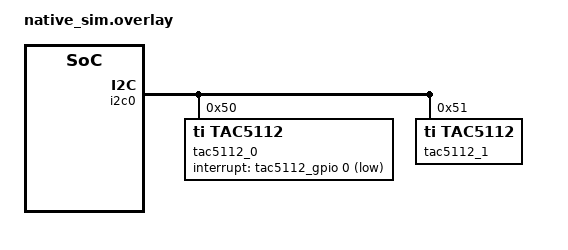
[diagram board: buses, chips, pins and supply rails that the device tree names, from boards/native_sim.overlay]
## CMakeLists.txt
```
#
# Copyright (c) 2026 Nordic Semiconductor ASA
#
# SPDX-License-Identifier: LicenseRef-Nordic-5-Clause
#

cmake_minimum_required(VERSION 3.20.0)

find_package(Zephyr REQUIRED HINTS $ENV{ZEPHYR_BASE})
project(tac5112_api)

# tac5112_private.h is a private driver header (not installed on the public
# include path); this whitebox test suite includes it directly to reach
# tac5112_reg_write()/tac5112_reg_read()/tac5112_reg_update(), so add
# drivers/audio/ to the include path.
zephyr_include_directories(${ZEPHYR_NRF_MODULE_DIR}/drivers/audio)

target_sources(app PRIVATE src/main.c)
```

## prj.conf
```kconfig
#
# Copyright (c) 2026 Nordic Semiconductor ASA
#
# SPDX-License-Identifier: LicenseRef-Nordic-5-Clause
#

CONFIG_ZTEST=y

CONFIG_AUDIO=y
CONFIG_AUDIO_CODEC=y
CONFIG_AUDIO_CODEC_TAC5112=y
CONFIG_AUDIO_CODEC_TAC5112_EMUL=y

CONFIG_I2C=y
CONFIG_GPIO=y
CONFIG_GPIO_EMUL=y
CONFIG_EMUL=y
```

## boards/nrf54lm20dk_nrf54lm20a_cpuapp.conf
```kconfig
#
# Copyright (c) 2026 Nordic Semiconductor ASA
#
# SPDX-License-Identifier: LicenseRef-Nordic-5-Clause
#

# This suite is a whitebox unit test for the TAC5112 codec driver and uses
# neither entropy nor cryptography. On nRF54L the PSA crypto provider defaults
# on (from the zephyr,psa-crypto-rng devicetree node) and pulls in the whole
# nrf_security/CRACEN stack. Building it for this build-only compile check is
# pure overhead and, because its object paths are very deeply nested, also
# overflows CMAKE_OBJECT_PATH_MAX on Windows hosts. Disabling PSA crypto (the
# master switch for nrf_security) plus Mbed TLS and the entropy generator keeps
# the image lean and lets the compile check build everywhere.
CONFIG_PSA_CRYPTO=n
CONFIG_MBEDTLS=n
CONFIG_ENTROPY_GENERATOR=n
```

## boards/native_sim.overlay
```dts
/*
 * Copyright (c) 2026 Nordic Semiconductor ASA
 *
 * SPDX-License-Identifier: LicenseRef-Nordic-5-Clause
 */

#include <zephyr/dt-bindings/gpio/gpio.h>

/ {
	aliases {
		tac5112-0 = &tac5112_0;
		tac5112-1 = &tac5112_1;
	};

	/* Emulated GPIO controller carrying the codec's active-low IRQ output;
	 * driven by the I2C emulator (drivers/audio/tac5112_emul.c).
	 */
	tac5112_gpio: gpio@200 {
		compatible = "zephyr,gpio-emul";
		reg = <0x200 0x4>;
		gpio-controller;
		#gpio-cells = <2>;
		ngpios = <1>;
		rising-edge;
		falling-edge;
		high-level;
		low-level;
	};
};

&i2c0 {
	tac5112_0: audio-codec@50 {
		compatible = "ti,tac5112";
		reg = <0x50>;
		interrupt-gpios = <&tac5112_gpio 0 GPIO_ACTIVE_LOW>;
	};

	/* Second codec: microphone bias enabled and no interrupt line. */
	tac5112_1: audio-codec@51 {
		compatible = "ti,tac5112";
		reg = <0x51>;
		micbias-enable;
	};
};
```

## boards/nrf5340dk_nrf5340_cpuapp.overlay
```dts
/*
 * Copyright (c) 2026 Nordic Semiconductor ASA
 *
 * SPDX-License-Identifier: LicenseRef-Nordic-5-Clause
 */

 /*
 * Runs the TAC5112 driver + I2C-mock ztest suite on the nRF5340 DK
 * application core (Cortex-M33). Like the qemu_cortex_m3 overlay, it
 * supplies a software "zephyr,i2c-emul-controller" so the whole stack --
 * driver, Zephyr I2C API, and the mock -- runs with no physical codec.
 */

#include <zephyr/dt-bindings/i2c/i2c.h>

/ {
	aliases {
		tac5112-0 = &tac5112_0;
	};

	tac5112_i2c: i2c@100 {
		status = "okay";
		compatible = "zephyr,i2c-emul-controller";
		reg = <0x100 4>;
		clock-frequency = <I2C_BITRATE_STANDARD>;
		#address-cells = <1>;
		#size-cells = <0>;

		tac5112_0: audio-codec@50 {
			compatible = "ti,tac5112";
			reg = <0x50>;
		};
	};
};
```

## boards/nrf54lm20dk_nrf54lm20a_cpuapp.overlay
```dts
/*
 * Copyright (c) 2026 Nordic Semiconductor ASA
 *
 * SPDX-License-Identifier: LicenseRef-Nordic-5-Clause
 */

/*
 * Devicetree overlay for running the TAC5112 driver + I2C-mock ztest suite
 * on a Nordic nRF54LM20 DK (board target nrf54lm20dk/nrf54lm20a/cpuapp).
 *
 * This runs the *unit tests* on the real Cortex-M33 application core -- the
 * production driver code, the real Zephyr I2C API, kernel mutex and system
 * workqueue -- without needing a physical TAC5112 wired up. As on QEMU, the
 * codec is provided by the software mock (drivers/audio/tac5112_emul.c)
 * bound to a "zephyr,i2c-emul-controller" bus, so no real TWIM pins are
 * touched. For driving a *physical* codec over a real TWIM instance, see
 * the production overlay snippet in README.md instead.
 */

#include <zephyr/dt-bindings/i2c/i2c.h>

#include <zephyr/dt-bindings/gpio/gpio.h>

/ {
	aliases {
		tac5112-0 = &tac5112_0;
		tac5112-1 = &tac5112_1;
	};

	/* Emulated GPIO controller carrying the codec's active-low IRQ output;
	 * driven by the I2C emulator (drivers/audio/tac5112_emul.c).
	 */
	tac5112_gpio: gpio@200 {
		compatible = "zephyr,gpio-emul";
		reg = <0x200 0x4>;
		gpio-controller;
		#gpio-cells = <2>;
		ngpios = <1>;
		rising-edge;
		falling-edge;
		high-level;
		low-level;
	};

	tac5112_i2c: i2c@100 {
		status = "okay";
		compatible = "zephyr,i2c-emul-controller";
		/* This binding marks reg as required. The node is not real
		 * MMIO -- reg is only an identifier for an emulated bus -- but
		 * it must be present and match the @unit-address above.
		 */
		reg = <0x100 4>;
		clock-frequency = <I2C_BITRATE_STANDARD>;
		#address-cells = <1>;
		#size-cells = <0>;

		tac5112_0: audio-codec@50 {
			compatible = "ti,tac5112";
			reg = <0x50>;
			interrupt-gpios = <&tac5112_gpio 0 GPIO_ACTIVE_LOW>;
		};

		/* Second codec: microphone bias enabled and no interrupt line. */
		tac5112_1: audio-codec@51 {
			compatible = "ti,tac5112";
			reg = <0x51>;
			micbias-enable;
		};
	};
};
```

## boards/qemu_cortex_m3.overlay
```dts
/*
 * Copyright (c) 2026 Nordic Semiconductor ASA
 *
 * SPDX-License-Identifier: LicenseRef-Nordic-5-Clause
 */

/*
 * Devicetree overlay for running the TAC5112 driver + I2C-mock ztest suite
 * on the qemu_cortex_m3 platform.
 *
 * Unlike native_sim (whose board devicetree already ships an emulated I2C
 * bus at &i2c0), qemu_cortex_m3 models the TI LM3S6965 SoC and provides no
 * usable I2C controller under QEMU. This overlay therefore instantiates a
 * software "zephyr,i2c-emul-controller" bus at the root of the tree and
 * hangs the TAC5112 node off it. Both the real driver device and the I2C
 * emulator (drivers/audio/tac5112_emul.c) bind to that same node, so the
 * whole stack -- codec driver, Zephyr I2C API, and the mock -- is exercised
 * exactly as it is on native_sim, just running on an emulated Cortex-M3.
 *
 * CONFIG_I2C_EMUL is selected automatically once this compatible is present
 * (its Kconfig defaults y on DT_HAS_ZEPHYR_I2C_EMUL_CONTROLLER_ENABLED).
 */

#include <zephyr/dt-bindings/i2c/i2c.h>

#include <zephyr/dt-bindings/gpio/gpio.h>

/ {
	aliases {
		tac5112-0 = &tac5112_0;
		tac5112-1 = &tac5112_1;
	};

	/* Emulated GPIO controller carrying the codec's active-low IRQ output;
	 * driven by the I2C emulator (drivers/audio/tac5112_emul.c).
	 */
	tac5112_gpio: gpio@200 {
		compatible = "zephyr,gpio-emul";
		reg = <0x200 0x4>;
		gpio-controller;
		#gpio-cells = <2>;
		ngpios = <1>;
		rising-edge;
		falling-edge;
		high-level;
		low-level;
	};

	tac5112_i2c: i2c@100 {
		status = "okay";
		compatible = "zephyr,i2c-emul-controller";
		/* This binding marks reg as required. The node is not real
		 * MMIO -- reg is only an identifier for an emulated bus -- but
		 * it must be present and match the @unit-address above.
		 */
		reg = <0x100 4>;
		clock-frequency = <I2C_BITRATE_STANDARD>;
		#address-cells = <1>;
		#size-cells = <0>;

		tac5112_0: audio-codec@50 {
			compatible = "ti,tac5112";
			reg = <0x50>;
			interrupt-gpios = <&tac5112_gpio 0 GPIO_ACTIVE_LOW>;
		};

		/* Second codec: microphone bias enabled and no interrupt line. */
		tac5112_1: audio-codec@51 {
			compatible = "ti,tac5112";
			reg = <0x51>;
			micbias-enable;
		};
	};
};
```

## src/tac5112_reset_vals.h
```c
/*
 * Copyright (c) 2026 Nordic Semiconductor ASA
 *
 * SPDX-License-Identifier: LicenseRef-Nordic-5-Clause
 */

#ifndef TAC5112_RESET_VALUES_H_
#define TAC5112_RESET_VALUES_H_

#ifdef __cplusplus
extern "C" {
#endif

#define	TEST_TAC5112_REG_PAGE_0_CFG_RESET_VAL			(0x00U)
#define	TEST_TAC5112_REG_SW_RESET_RESET_VAL				(0x00U)
#define	TEST_TAC5112_REG_DEV_MISC_CFG_RESET_VAL			(0x00U)
#define	TEST_TAC5112_REG_AVDD_IOVDD_STS_RESET_VAL		(0x00U)
#define	TEST_TAC5112_REG_MISC_CFG_RESET_VAL				(0x00U)
#define	TEST_TAC5112_REG_MISC_CFG1_RESET_VAL			(0x15U)
#define	TEST_TAC5112_REG_DAC_CFG_A0_RESET_VAL			(0x35U)
#define	TEST_TAC5112_REG_MISC_CFG0_RESET_VAL			(0x00U)
#define	TEST_TAC5112_REG_GPIO1_CFG0_RESET_VAL			(0x32U)
#define	TEST_TAC5112_REG_GPIO2_CFG0_RESET_VAL			(0x00U)
#define	TEST_TAC5112_REG_GPO1_CFG0_RESET_VAL			(0x00U)
#define	TEST_TAC5112_REG_GPI_CFG_RESET_VAL				(0x00U)
#define	TEST_TAC5112_REG_GPO_GPI_VAL_RESET_VAL			(0x00U)
#define	TEST_TAC5112_REG_INTF_CFG0_RESET_VAL			(0x00U)
#define	TEST_TAC5112_REG_INTF_CFG1_RESET_VAL			(0x52U)
#define	TEST_TAC5112_REG_INTF_CFG2_RESET_VAL			(0x80U)
#define	TEST_TAC5112_REG_INTF_CFG3_RESET_VAL			(0x00U)
#define	TEST_TAC5112_REG_INTF_CFG4_RESET_VAL			(0x00U)
#define	TEST_TAC5112_REG_INTF_CFG5_RESET_VAL			(0x00U)
#define	TEST_TAC5112_REG_INTF_CFG6_RESET_VAL			(0x00U)
#define	TEST_TAC5112_REG_ASI_CFG0_RESET_VAL				(0x40U)
#define	TEST_TAC5112_REG_ASI_CFG1_RESET_VAL				(0x00U)
#define	TEST_TAC5112_REG_PASI_CFG0_RESET_VAL			(0x30U)
#define	TEST_TAC5112_REG_PASI_TX_CFG0_RESET_VAL			(0x00U)
#define	TEST_TAC5112_REG_PASI_TX_CFG1_RESET_VAL			(0x00U)
#define	TEST_TAC5112_REG_PASI_TX_CFG2_RESET_VAL			(0x00U)
#define	TEST_TAC5112_REG_PASI_TX_CH1_CFG_RESET_VAL		(0x20U)
#define	TEST_TAC5112_REG_PASI_TX_CH2_CFG_RESET_VAL		(0x21U)
#define	TEST_TAC5112_REG_PASI_TX_CH3_CFG_RESET_VAL		(0x02U)
#define	TEST_TAC5112_REG_PASI_TX_CH4_CFG_RESET_VAL		(0x03U)
#define	TEST_TAC5112_REG_PASI_TX_CH5_CFG_RESET_VAL		(0x04U)
#define	TEST_TAC5112_REG_PASI_TX_CH6_CFG_RESET_VAL		(0x05U)
#define	TEST_TAC5112_REG_PASI_TX_CH7_CFG_RESET_VAL		(0x06U)
#define	TEST_TAC5112_REG_PASI_TX_CH8_CFG_RESET_VAL		(0x07U)
#define	TEST_TAC5112_REG_PASI_RX_CFG0_RESET_VAL			(0x00U)
#define	TEST_TAC5112_REG_PASI_RX_CFG1_RESET_VAL			(0x00U)
#define	TEST_TAC5112_REG_PASI_RX_CH1_CFG_RESET_VAL		(0x20U)
#define	TEST_TAC5112_REG_PASI_RX_CH2_CFG_RESET_VAL		(0x21U)
#define	TEST_TAC5112_REG_PASI_RX_CH3_CFG_RESET_VAL		(0x02U)
#define	TEST_TAC5112_REG_PASI_RX_CH4_CFG_RESET_VAL		(0x03U)
#define	TEST_TAC5112_REG_PASI_RX_CH5_CFG_RESET_VAL		(0x04U)
#define	TEST_TAC5112_REG_PASI_RX_CH6_CFG_RESET_VAL		(0x05U)
#define	TEST_TAC5112_REG_PASI_RX_CH7_CFG_RESET_VAL		(0x06U)
#define	TEST_TAC5112_REG_PASI_RX_CH8_CFG_RESET_VAL		(0x07U)
#define	TEST_TAC5112_REG_CLK_CFG0_RESET_VAL				(0x00U)
#define	TEST_TAC5112_REG_CLK_CFG1_RESET_VAL				(0x00U)
#define	TEST_TAC5112_REG_CLK_CFG2_RESET_VAL				(0x40U)
#define	TEST_TAC5112_REG_CNT_CLK_CFG0_RESET_VAL			(0x00U)
#define	TEST_TAC5112_REG_CNT_CLK_CFG1_RESET_VAL			(0x00U)
#define	TEST_TAC5112_REG_CNT_CLK_CFG2_RESET_VAL			(0x20U)
#define	TEST_TAC5112_REG_CNT_CLK_CFG3_RESET_VAL			(0x00U)
#define	TEST_TAC5112_REG_CNT_CLK_CFG4_RESET_VAL			(0x00U)
#define	TEST_TAC5112_REG_CNT_CLK_CFG5_RESET_VAL			(0x00U)
#define	TEST_TAC5112_REG_CNT_CLK_CFG6_RESET_VAL			(0x00U)
#define	TEST_TAC5112_REG_CLK_ERR_STS0_RESET_VAL			(0x00U)
#define	TEST_TAC5112_REG_CLK_ERR_STS1_RESET_VAL			(0x00U)
#define	TEST_TAC5112_REG_CLK_DET_STS0_RESET_VAL			(0x00U)
#define	TEST_TAC5112_REG_CLK_DET_STS1_RESET_VAL			(0x00U)
#define	TEST_TAC5112_REG_CLK_DET_STS2_RESET_VAL			(0x00U)
#define	TEST_TAC5112_REG_CLK_DET_STS3_RESET_VAL			(0x00U)
#define	TEST_TAC5112_REG_INT_CFG_RESET_VAL				(0x00U)
#define	TEST_TAC5112_REG_DAC_FLT_CFG_RESET_VAL			(0x54U)
#define	TEST_TAC5112_REG_ADC_DAC_MISC_CFG_RESET_VAL		(0x00U)
#define	TEST_TAC5112_REG_IADC_CFG_RESET_VAL				(0x5CU)
#define	TEST_TAC5112_REG_VREF_MICBIAS_CFG_RESET_VAL		(0x00U)
#define	TEST_TAC5112_REG_PWR_TUNE_CFG0_RESET_VAL		(0x00U)
#define	TEST_TAC5112_REG_PWR_TUNE_CFG1_RESET_VAL		(0x00U)
#define	TEST_TAC5112_REG_ADC_CH1_CFG0_RESET_VAL			(0x00U)
#define	TEST_TAC5112_REG_IADC_CH_CFG_RESET_VAL			(0x00U)
#define	TEST_TAC5112_REG_ADC_CH1_CFG2_RESET_VAL			(0xA1U)
#define	TEST_TAC5112_REG_ADC_CH1_CFG3_RESET_VAL			(0x80U)
#define	TEST_TAC5112_REG_ADC_CH1_CFG4_RESET_VAL			(0x00U)
#define	TEST_TAC5112_REG_ADC_CH2_CFG0_RESET_VAL			(0x00U)
#define	TEST_TAC5112_REG_ADC_CH2_CFG2_RESET_VAL			(0xA1U)
#define	TEST_TAC5112_REG_ADC_CH2_CFG3_RESET_VAL			(0x80U)
#define	TEST_TAC5112_REG_ADC_CH2_CFG4_RESET_VAL			(0x00U)
#define	TEST_TAC5112_REG_ADC_CH3_CFG0_RESET_VAL			(0x00U)
#define	TEST_TAC5112_REG_ADC_CH3_CFG2_RESET_VAL			(0xA1U)
#define	TEST_TAC5112_REG_ADC_CH3_CFG3_RESET_VAL			(0x80U)
#define	TEST_TAC5112_REG_ADC_CH3_CFG4_RESET_VAL			(0x00U)
#define	TEST_TAC5112_REG_ADC_CH4_CFG0_RESET_VAL			(0x00U)
#define	TEST_TAC5112_REG_ADC_CH4_CFG2_RESET_VAL			(0xA1U)
#define	TEST_TAC5112_REG_ADC_CH4_CFG3_RESET_VAL			(0x80U)
#define	TEST_TAC5112_REG_ADC_CH4_CFG4_RESET_VAL			(0x00U)
#define	TEST_TAC5112_REG_ADC_CFG1_RESET_VAL				(0x00U)
#define	TEST_TAC5112_REG_OUT1X_CFG0_RESET_VAL			(0x20U)
#define	TEST_TAC5112_REG_OUT1X_CFG1_RESET_VAL			(0x20U)
#define	TEST_TAC5112_REG_OUT1X_CFG2_RESET_VAL			(0x20U)
#define	TEST_TAC5112_REG_DAC_CH1A_CFG0_RESET_VAL		(0xC9U)
#define	TEST_TAC5112_REG_DAC_CH1A_CFG1_RESET_VAL		(0x80U)
#define	TEST_TAC5112_REG_DAC_CH1B_CFG0_RESET_VAL		(0xC9U)
#define	TEST_TAC5112_REG_DAC_CH1B_CFG1_RESET_VAL		(0x80U)
#define	TEST_TAC5112_REG_OUT2X_CFG0_RESET_VAL			(0x20U)
#define	TEST_TAC5112_REG_OUT2X_CFG1_RESET_VAL			(0x20U)
#define	TEST_TAC5112_REG_OUT2X_CFG2_RESET_VAL			(0x20U)
#define	TEST_TAC5112_REG_DAC_CH2A_CFG0_RESET_VAL		(0x20U)
#define	TEST_TAC5112_REG_DAC_CH2A_CFG1_RESET_VAL		(0x20U)
#define	TEST_TAC5112_REG_DAC_CH2B_CFG0_RESET_VAL		(0x20U)
#define	TEST_TAC5112_REG_DAC_CH2B_CFG1_RESET_VAL		(0xC9U)
#define	TEST_TAC5112_REG_DSP_CFG0_RESET_VAL				(0x80U)
#define	TEST_TAC5112_REG_DSP_CFG1_RESET_VAL				(0xC9U)
#define	TEST_TAC5112_REG_CH_EN_RESET_VAL				(0xCCU)
#define	TEST_TAC5112_REG_DYN_PUPD_CFG_RESET_VAL			(0x00U)
#define	TEST_TAC5112_REG_PWR_CFG_RESET_VAL				(0x00U)
#define	TEST_TAC5112_REG_DEV_STS0_RESET_VAL				(0x00U)
#define	TEST_TAC5112_REG_DEV_STS1_RESET_VAL				(0x80U)
#define	TEST_TAC5112_REG_I2C_CKSUM_RESET_VAL			(0x00U)

#define	TEST_TAC5112_REG_PAGE_1_CFG_RESET_VAL				(0x00U)
#define	TEST_TAC5112_REG_DSP_CFG0_P1_RESET_VAL				(0x00U)
#define	TEST_TAC5112_REG_CLK_CFG0_P1_RESET_VAL				(0x00U)
#define	TEST_TAC5112_REG_CHANNEL_CFG1_RESET_VAL				(0x00U)
#define	TEST_TAC5112_REG_CHANNEL_CFG2_RESET_VAL				(0x00U)
#define	TEST_TAC5112_REG_SRC_CFG0_RESET_VAL					(0x00U)
#define	TEST_TAC5112_REG_SRC_CFG1_RESET_VAL					(0x00U)
#define	TEST_TAC5112_REG_JACK_DET_CFG0_RESET_VAL			(0x00U)
#define	TEST_TAC5112_REG_JACK_DET_CFG1_RESET_VAL			(0x00U)
#define	TEST_TAC5112_REG_JACK_DET_CFG2_RESET_VAL			(0x00U)
#define	TEST_TAC5112_REG_JACK_DET_CFG3_RESET_VAL			(0x00U)
#define	TEST_TAC5112_REG_LPAD_CFG1_RESET_VAL				(0x20U)
#define	TEST_TAC5112_REG_LPSG_CFG1_RESET_VAL				(0x80U)
#define	TEST_TAC5112_REG_LPAD_LPSG_CFG1_RESET_VAL			(0x00U)
#define	TEST_TAC5112_REG_LIMITER_CFG_RESET_VAL				(0x00U)
#define	TEST_TAC5112_REG_AGC_DRC_CFG_RESET_VAL				(0x00U)
#define	TEST_TAC5112_REG_PLIM_CFG0_RESET_VAL				(0x00U)
#define	TEST_TAC5112_REG_MIXER_CFG0_RESET_VAL				(0x00U)
#define	TEST_TAC5112_REG_MISC_CFG0_P1_RESET_VAL				(0x00U)
#define	TEST_TAC5112_REG_BRWNOUT_RESET_VAL					(0xBFU)
#define	TEST_TAC5112_REG_INT_MASK0_RESET_VAL				(0xFFU)
#define	TEST_TAC5112_REG_INT_MASK4_RESET_VAL				(0x00U)
#define	TEST_TAC5112_REG_INT_MASK5_RESET_VAL				(0x30U)
#define	TEST_TAC5112_REG_INT_LTCH0_RESET_VAL				(0x00U)
#define	TEST_TAC5112_REG_OUT_CH1_LTCH_RESET_VAL				(0x00U)
#define	TEST_TAC5112_REG_OUT_CH2_LTCH_RESET_VAL				(0x00U)
#define	TEST_TAC5112_REG_INT_LTCH1_RESET_VAL				(0x00U)
#define	TEST_TAC5112_REG_INT_LTCH2_RESET_VAL				(0x00U)
#define	TEST_TAC5112_REG_INT_LIVE0_RESET_VAL				(0x00U)
#define	TEST_TAC5112_REG_OUT_CH1_LIVE_RESET_VAL				(0x00U)
#define	TEST_TAC5112_REG_OUT_CH2_LIVE_RESET_VAL				(0x00U)
#define	TEST_TAC5112_REG_INT_LIVE1_RESET_VAL				(0x00U)
#define	TEST_TAC5112_REG_INT_LIVE2_RESET_VAL				(0x00U)
#define	TEST_TAC5112_REG_DIAG_CFG8_RESET_VAL				(0xBAU)
#define	TEST_TAC5112_REG_DIAG_CFG9_RESET_VAL				(0x4BU)
#define	TEST_TAC5112_REG_DIAG_CFG13_RESET_VAL				(0x00U)
#define	TEST_TAC5112_REG_DIAG_CFG14_RESET_VAL				(0x48U)
#define	TEST_TAC5112_REG_DIAGDATA_CFG_RESET_VAL				(0x00U)
#define	TEST_TAC5112_REG_DIAG_MON_MSB_MBIAS_RESET_VAL		(0x00U)
#define	TEST_TAC5112_REG_DIAG_MON_LSB_MBIAS_RESET_VAL		(0x01U)
#define	TEST_TAC5112_REG_DIAG_MON_MSB_OUT1P_RESET_VAL		(0x00U)
#define	TEST_TAC5112_REG_DIAG_MON_LSB_OUT1P_RESET_VAL		(0x06U)
#define	TEST_TAC5112_REG_DIAG_MON_MSB_OUT1M_RESET_VAL		(0x00U)
#define	TEST_TAC5112_REG_DIAG_MON_LSB_OUT1M_RESET_VAL		(0x07U)
#define	TEST_TAC5112_REG_DIAG_MON_MSB_OUT2P_RESET_VAL		(0x00U)
#define	TEST_TAC5112_REG_DIAG_MON_LSB_OUT2P_RESET_VAL		(0x08U)
#define	TEST_TAC5112_REG_DIAG_MON_MSB_OUT2M_RESET_VAL		(0x00U)
#define	TEST_TAC5112_REG_DIAG_MON_LSB_OUT2M_RESET_VAL		(0x09U)
#define	TEST_TAC5112_REG_DIAG_MON_MSB_TEMP_RESET_VAL		(0x00U)
#define	TEST_TAC5112_REG_DIAG_MON_LSB_TEMP_RESET_VAL		(0x0AU)
#define	TEST_TAC5112_REG_DIAG_MON_MSB_MBIAS_LOAD_RESET_VAL	(0x00U)
#define	TEST_TAC5112_REG_DIAG_MON_LSB_MBIAS_LOAD_RESET_VAL	(0x0BU)
#define	TEST_TAC5112_REG_DIAG_MON_MSB_AVDD_RESET_VAL		(0x00U)
#define	TEST_TAC5112_REG_DIAG_MON_LSB_AVDD_RESET_VAL		(0x0CU)
#define	TEST_TAC5112_REG_DIAG_MON_MSB_GPA_RESET_VAL			(0x00U)
#define	TEST_TAC5112_REG_DIAG_MON_LSB_GPA_RESET_VAL			(0x0DU)

#define	TEST_TAC5112_REG_PAGE_3_CFG_RESET_VAL		(0x00U)
#define	TEST_TAC5112_REG_SASI_CFG0_RESET_VAL		(0x30U)
#define	TEST_TAC5112_REG_SASI_TX_CFG0_RESET_VAL		(0x00U)
#define	TEST_TAC5112_REG_SASI_TX_CFG1_RESET_VAL		(0x00U)
#define	TEST_TAC5112_REG_SASI_TX_CFG2_RESET_VAL		(0x00U)
#define	TEST_TAC5112_REG_SASI_TX_CH1_CFG_RESET_VAL	(0x00U)
#define	TEST_TAC5112_REG_SASI_TX_CH2_CFG_RESET_VAL	(0x01U)
#define	TEST_TAC5112_REG_SASI_TX_CH3_CFG_RESET_VAL	(0x02U)
#define	TEST_TAC5112_REG_SASI_TX_CH4_CFG_RESET_VAL	(0x03U)
#define	TEST_TAC5112_REG_SASI_TX_CH5_CFG_RESET_VAL	(0x04U)
#define	TEST_TAC5112_REG_SASI_TX_CH6_CFG_RESET_VAL	(0x05U)
#define	TEST_TAC5112_REG_SASI_TX_CH7_CFG_RESET_VAL	(0x06U)
#define	TEST_TAC5112_REG_SASI_TX_CH8_CFG_RESET_VAL	(0x07U)
#define	TEST_TAC5112_REG_SASI_RX_CFG0_RESET_VAL		(0x00U)
#define	TEST_TAC5112_REG_SASI_RX_CFG1_RESET_VAL		(0x00U)
#define	TEST_TAC5112_REG_SASI_RX_CH1_CFG_RESET_VAL	(0x00U)
#define	TEST_TAC5112_REG_SASI_RX_CH2_CFG_RESET_VAL	(0x01U)
#define	TEST_TAC5112_REG_SASI_RX_CH3_CFG_RESET_VAL	(0x02U)
#define	TEST_TAC5112_REG_SASI_RX_CH4_CFG_RESET_VAL	(0x03U)
#define	TEST_TAC5112_REG_SASI_RX_CH5_CFG_RESET_VAL	(0x04U)
#define	TEST_TAC5112_REG_SASI_RX_CH6_CFG_RESET_VAL	(0x05U)
#define	TEST_TAC5112_REG_SASI_RX_CH7_CFG_RESET_VAL	(0x06U)
#define	TEST_TAC5112_REG_SASI_RX_CH8_CFG_RESET_VAL	(0x07U)
#define	TEST_TAC5112_REG_CLK_CFG12_RESET_VAL		(0x00U)
#define	TEST_TAC5112_REG_CLK_CFG13_RESET_VAL		(0x00U)
#define	TEST_TAC5112_REG_CLK_CFG14_RESET_VAL		(0x10U)
#define	TEST_TAC5112_REG_CLK_CFG15_RESET_VAL		(0x01U)
#define	TEST_TAC5112_REG_CLK_CFG16_RESET_VAL		(0x00U)
#define	TEST_TAC5112_REG_CLK_CFG17_RESET_VAL		(0x00U)
#define	TEST_TAC5112_REG_CLK_CFG18_RESET_VAL		(0x08U)
#define	TEST_TAC5112_REG_CLK_CFG19_RESET_VAL		(0x20U)
#define	TEST_TAC5112_REG_CLK_CFG20_RESET_VAL		(0x04U)
#define	TEST_TAC5112_REG_CLK_CFG21_RESET_VAL		(0x00U)
#define	TEST_TAC5112_REG_CLK_CFG22_RESET_VAL		(0x01U)
#define	TEST_TAC5112_REG_CLK_CFG23_RESET_VAL		(0x01U)
#define	TEST_TAC5112_REG_CLK_CFG24_RESET_VAL		(0x01U)
#define	TEST_TAC5112_REG_CLK_CFG30_RESET_VAL		(0x00U)
#define	TEST_TAC5112_REG_CLK_CFG31_RESET_VAL		(0x00U)
#define	TEST_TAC5112_REG_CLKOUT_CFG1_RESET_VAL		(0x00U)
#define	TEST_TAC5112_REG_CLKOUT_CFG2_RESET_VAL		(0x01U)
#define	TEST_TAC5112_REG_SARCLK_CFG1_RESET_VAL		(0x00U)
#define	TEST_TAC5112_REG_ADC_OVRLD_FLAG_RESET_VAL	(0x00U)

#ifdef __cplusplus
}
#endif

#endif /* TAC5112_RESET_VALUES_H_ */
```
